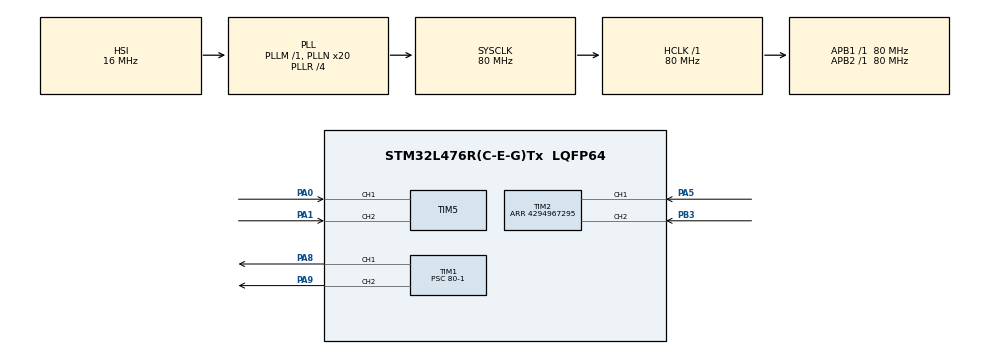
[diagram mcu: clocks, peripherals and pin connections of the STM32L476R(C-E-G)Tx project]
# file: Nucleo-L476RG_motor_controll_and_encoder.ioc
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Dma.Request0=TIM1_CH1
Dma.TIM1_CH1.0.Direction=DMA_MEMORY_TO_PERIPH
Dma.TIM1_CH1.0.Instance=DMA1_Channel2
Dma.TIM1_CH1.0.MemDataAlignment=DMA_MDATAALIGN_HALFWORD
Dma.TIM1_CH1.0.MemInc=DMA_MINC_ENABLE
Dma.TIM1_CH1.0.Mode=DMA_NORMAL
Dma.TIM1_CH1.0.PeriphDataAlignment=DMA_PDATAALIGN_HALFWORD
Dma.TIM1_CH1.0.PeriphInc=DMA_PINC_DISABLE
Dma.TIM1_CH1.0.Priority=DMA_PRIORITY_LOW
Mcu.Family=STM32L4
Mcu.Name=STM32L476R(C-E-G)Tx
Mcu.Package=LQFP64
NVIC.DMA1_Channel2_IRQn=true\:0\:0\:false\:false\:true\:false\:true\:true
NVIC.PriorityGroup=NVIC_PRIORITYGROUP_4
NVIC.TIM2_IRQn=true\:0\:0\:false\:false\:true\:true\:true\:true
NVIC.TIM5_IRQn=true\:0\:0\:false\:false\:true\:true\:true\:true
PA0.Signal=S_TIM5_CH1
PA1.Signal=S_TIM5_CH2
PA13\ (JTMS-SWDIO).Mode=Serial_Wire
PA13\ (JTMS-SWDIO).Signal=SYS_JTMS-SWDIO
PA14\ (JTCK-SWCLK).Mode=Serial_Wire
PA14\ (JTCK-SWCLK).Signal=SYS_JTCK-SWCLK
PA5.GPIO_PuPd=GPIO_PULLUP
PA5.Signal=S_TIM2_CH1
PA8.Signal=S_TIM1_CH1
PA9.Signal=S_TIM1_CH2
PB3\ (JTDO-TRACESWO).GPIO_PuPd=GPIO_PULLUP
PB3\ (JTDO-TRACESWO).Signal=S_TIM2_CH2
PH0-OSC_IN\ (PH0).Mode=HSE-External-Oscillator
PH0-OSC_IN\ (PH0).Signal=RCC_OSC_IN
PH1-OSC_OUT\ (PH1).Mode=HSE-External-Oscillator
PH1-OSC_OUT\ (PH1).Signal=RCC_OSC_OUT
ProjectManager.HeapSize=0x200
ProjectManager.StackSize=0x400
ProjectManager.TargetToolchain=STM32CubeIDE
RCC.ADCFreq_Value=64000000
RCC.AHBFreq_Value=80000000
RCC.APB1Freq_Value=80000000
RCC.APB1TimFreq_Value=80000000
RCC.APB2Freq_Value=80000000
RCC.APB2TimFreq_Value=80000000
RCC.CortexFreq_Value=80000000
RCC.HCLKFreq_Value=80000000
RCC.HSE_VALUE=8000000
RCC.HSI_VALUE=16000000
RCC.LSE_VALUE=32768
RCC.MSI_VALUE=4000000
RCC.PLLN=20
RCC.PLLR=RCC_PLLR_DIV4
RCC.PLLSourceVirtual=RCC_PLLSOURCE_HSI
RCC.PREFETCH_ENABLE=1
RCC.SYSCLKFreq_VALUE=80000000
RCC.SYSCLKSource=RCC_SYSCLKSOURCE_PLLCLK
RCC.USBFreq_Value=64000000
RCC.VCOOutputFreq_Value=320000000
SH.S_TIM1_CH1.0=TIM1_CH1,PWM Generation1 CH1
SH.S_TIM1_CH2.0=TIM1_CH2,PWM Generation2 CH2
SH.S_TIM2_CH1.0=TIM2_CH1,Encoder_Interface
SH.S_TIM2_CH2.0=TIM2_CH2,Encoder_Interface
SH.S_TIM5_CH1.0=TIM5_CH1,Encoder_Interface
SH.S_TIM5_CH2.0=TIM5_CH2,Encoder_Interface
TIM1.Channel-PWM\ Generation1\ CH1=TIM_CHANNEL_1
TIM1.Channel-PWM\ Generation2\ CH2=TIM_CHANNEL_2
TIM1.Period=100-1
TIM1.Prescaler=80-1
TIM2.EncoderMode=TIM_ENCODERMODE_TI12
TIM2.IC1Polarity=TIM_ICPOLARITY_FALLING
TIM2.Period=4294967295
TIM5.EncoderMode=TIM_ENCODERMODE_TI12
TIM5.IC1Polarity=TIM_ICPOLARITY_FALLING
VP_TIM1_VS_ClockSourceINT.Mode=Internal
board=NUCLEO-L476RG

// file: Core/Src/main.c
/* USER CODE BEGIN Header */
/**
  ******************************************************************************
  * @file           : main.c
  * @brief          : Main program body
  ******************************************************************************
  * @attention
  *
  * Copyright (c) 2025 STMicroelectronics.
  * All rights reserved.
  *
  * This software is licensed under terms that can be found in the LICENSE file
  * in the root directory of this software component.
  * If no LICENSE file comes with this software, it is provided AS-IS.
  *
  ******************************************************************************
  */
/* USER CODE END Header */
#include "main.h"

TIM_HandleTypeDef htim1;
TIM_HandleTypeDef htim2;
TIM_HandleTypeDef htim5;
DMA_HandleTypeDef hdma_tim1_ch1;

void SystemClock_Config(void);
static void MX_GPIO_Init(void);
static void MX_DMA_Init(void);
static void MX_TIM2_Init(void);
static void MX_TIM1_Init(void);
static void MX_TIM5_Init(void);

/* USER CODE BEGIN 0 */
int32_t counter1 = 0;
int32_t counter2 = 0;

int32_t ticks1 = 0;
int32_t ticks2 = 0;

int speed1 = 0;
int speed2 = 0;

uint16_t pwmData[10];

void HAL_TIM_IC_CaptureCallback(TIM_HandleTypeDef *htim){
	if (htim->Instance == TIM2)
	  {
	    counter1 = __HAL_TIM_GET_COUNTER(htim);
	    ticks1 = counter1/4;
	  }
	  else if (htim->Instance == TIM5)
	  {
	    counter2 = __HAL_TIM_GET_COUNTER(htim);
	    ticks2 = counter2/4;
	  }
}

/* USER CODE END 0 */

/* USER CODE END 4 */

int main(void)
{

  /* MCU Configuration--------------------------------------------------------*/

  /* Reset of all peripherals, Initializes the Flash interface and the Systick. */
  HAL_Init();

  /* Configure the system clock */
  SystemClock_Config();

  /* Initialize all configured peripherals */
  MX_GPIO_Init();
  MX_DMA_Init();
  MX_TIM2_Init();
  MX_TIM1_Init();
  MX_TIM5_Init();
  /* USER CODE BEGIN 2 */
  HAL_TIM_Encoder_Start_IT(&htim2, TIM_CHANNEL_ALL);
  HAL_TIM_Encoder_Start_IT(&htim5, TIM_CHANNEL_ALL);

//  TIM1->CCR1 = 25;
  HAL_TIM_PWM_Start(&htim1, TIM_CHANNEL_1);
  HAL_TIM_PWM_Start(&htim1, TIM_CHANNEL_2);

//  pwmData[0]=10;
//  pwmData[1]=20;
//  pwmData[2]=30;
//  pwmData[3]=40;
//  pwmData[4]=50;
//  pwmData[5]=60;
//  pwmData[6]=70;
//  pwmData[7]=80;
//  pwmData[8]=90;
//  pwmData[9]=100;
//
//
//  HAL_TIM_PWM_Start_DMA(&htim1, TIM_CHANNEL_1, (uint32_t *)pwmData, 10);
  	 __HAL_TIM_SET_COMPARE(&htim1, TIM_CHANNEL_1, 100);
  	 __HAL_TIM_SET_COMPARE(&htim1, TIM_CHANNEL_2, 100);
  /* USER CODE END 2 */

  /* Infinite loop */
  while (1)
  {

    /* USER CODE BEGIN 3 */
	  // Ramp up the motor speed

//	for (uint16_t dutyCycle = 30; dutyCycle <= 100; dutyCycle++)
//	{
//	 __HAL_TIM_SET_COMPARE(&htim1, TIM_CHANNEL_1, dutyCycle);
//	 __HAL_TIM_SET_COMPARE(&htim1, TIM_CHANNEL_2, dutyCycle);
//	 HAL_Delay(100); // Delay for a short period to see the speed change
//	}

//	// Ramp down the motor speed
//	for (uint16_t dutyCycle = 100; dutyCycle > 30; dutyCycle--)
//	{
//	 __HAL_TIM_SET_COMPARE(&htim1, TIM_CHANNEL_1, dutyCycle);
//	 __HAL_TIM_SET_COMPARE(&htim1, TIM_CHANNEL_2, dutyCycle);
//	 HAL_Delay(100); // Delay for a short period to see the speed change
//	}

  }
  /* USER CODE END 3 */
}

void SystemClock_Config(void)
{
  RCC_OscInitTypeDef RCC_OscInitStruct = {0};
  RCC_ClkInitTypeDef RCC_ClkInitStruct = {0};

  /** Configure the main internal regulator output voltage
  */
  if (HAL_PWREx_ControlVoltageScaling(PWR_REGULATOR_VOLTAGE_SCALE1) != HAL_OK)
  {
    Error_Handler();
  }

  /** Initializes the RCC Oscillators according to the specified parameters
  * in the RCC_OscInitTypeDef structure.
  */
  RCC_OscInitStruct.OscillatorType = RCC_OSCILLATORTYPE_HSI;
  RCC_OscInitStruct.HSIState = RCC_HSI_ON;
  RCC_OscInitStruct.HSICalibrationValue = RCC_HSICALIBRATION_DEFAULT;
  RCC_OscInitStruct.PLL.PLLState = RCC_PLL_ON;
  RCC_OscInitStruct.PLL.PLLSource = RCC_PLLSOURCE_HSI;
  RCC_OscInitStruct.PLL.PLLM = 1;
  RCC_OscInitStruct.PLL.PLLN = 20;
  RCC_OscInitStruct.PLL.PLLP = RCC_PLLP_DIV7;
  RCC_OscInitStruct.PLL.PLLQ = RCC_PLLQ_DIV2;
  RCC_OscInitStruct.PLL.PLLR = RCC_PLLR_DIV4;
  if (HAL_RCC_OscConfig(&RCC_OscInitStruct) != HAL_OK)
  {
    Error_Handler();
  }

  /** Initializes the CPU, AHB and APB buses clocks
  */
  RCC_ClkInitStruct.ClockType = RCC_CLOCKTYPE_HCLK|RCC_CLOCKTYPE_SYSCLK
                              |RCC_CLOCKTYPE_PCLK1|RCC_CLOCKTYPE_PCLK2;
  RCC_ClkInitStruct.SYSCLKSource = RCC_SYSCLKSOURCE_PLLCLK;
  RCC_ClkInitStruct.AHBCLKDivider = RCC_SYSCLK_DIV1;
  RCC_ClkInitStruct.APB1CLKDivider = RCC_HCLK_DIV1;
  RCC_ClkInitStruct.APB2CLKDivider = RCC_HCLK_DIV1;

  if (HAL_RCC_ClockConfig(&RCC_ClkInitStruct, FLASH_LATENCY_4) != HAL_OK)
  {
    Error_Handler();
  }
}

static void MX_TIM1_Init(void)
{

  TIM_ClockConfigTypeDef sClockSourceConfig = {0};
  TIM_MasterConfigTypeDef sMasterConfig = {0};
  TIM_OC_InitTypeDef sConfigOC = {0};
  TIM_BreakDeadTimeConfigTypeDef sBreakDeadTimeConfig = {0};

  htim1.Instance = TIM1;
  htim1.Init.Prescaler = 40-1;
  htim1.Init.CounterMode = TIM_COUNTERMODE_UP;
  htim1.Init.Period = 100-1;
  htim1.Init.ClockDivision = TIM_CLOCKDIVISION_DIV1;
  htim1.Init.RepetitionCounter = 0;
  htim1.Init.AutoReloadPreload = TIM_AUTORELOAD_PRELOAD_DISABLE;
  if (HAL_TIM_Base_Init(&htim1) != HAL_OK)
  {
    Error_Handler();
  }
  sClockSourceConfig.ClockSource = TIM_CLOCKSOURCE_INTERNAL;
  if (HAL_TIM_ConfigClockSource(&htim1, &sClockSourceConfig) != HAL_OK)
  {
    Error_Handler();
  }
  if (HAL_TIM_PWM_Init(&htim1) != HAL_OK)
  {
    Error_Handler();
  }
  sMasterConfig.MasterOutputTrigger = TIM_TRGO_RESET;
  sMasterConfig.MasterOutputTrigger2 = TIM_TRGO2_RESET;
  sMasterConfig.MasterSlaveMode = TIM_MASTERSLAVEMODE_DISABLE;
  if (HAL_TIMEx_MasterConfigSynchronization(&htim1, &sMasterConfig) != HAL_OK)
  {
    Error_Handler();
  }
  sConfigOC.OCMode = TIM_OCMODE_PWM1;
  sConfigOC.Pulse = 0;
  sConfigOC.OCPolarity = TIM_OCPOLARITY_HIGH;
  sConfigOC.OCNPolarity = TIM_OCNPOLARITY_HIGH;
  sConfigOC.OCFastMode = TIM_OCFAST_DISABLE;
  sConfigOC.OCIdleState = TIM_OCIDLESTATE_RESET;
  sConfigOC.OCNIdleState = TIM_OCNIDLESTATE_RESET;
  if (HAL_TIM_PWM_ConfigChannel(&htim1, &sConfigOC, TIM_CHANNEL_1) != HAL_OK)
  {
    Error_Handler();
  }
  if (HAL_TIM_PWM_ConfigChannel(&htim1, &sConfigOC, TIM_CHANNEL_2) != HAL_OK)
  {
    Error_Handler();
  }
  sBreakDeadTimeConfig.OffStateRunMode = TIM_OSSR_DISABLE;
  sBreakDeadTimeConfig.OffStateIDLEMode = TIM_OSSI_DISABLE;
  sBreakDeadTimeConfig.LockLevel = TIM_LOCKLEVEL_OFF;
  sBreakDeadTimeConfig.DeadTime = 0;
  sBreakDeadTimeConfig.BreakState = TIM_BREAK_DISABLE;
  sBreakDeadTimeConfig.BreakPolarity = TIM_BREAKPOLARITY_HIGH;
  sBreakDeadTimeConfig.BreakFilter = 0;
  sBreakDeadTimeConfig.Break2State = TIM_BREAK2_DISABLE;
  sBreakDeadTimeConfig.Break2Polarity = TIM_BREAK2POLARITY_HIGH;
  sBreakDeadTimeConfig.Break2Filter = 0;
  sBreakDeadTimeConfig.AutomaticOutput = TIM_AUTOMATICOUTPUT_DISABLE;
  if (HAL_TIMEx_ConfigBreakDeadTime(&htim1, &sBreakDeadTimeConfig) != HAL_OK)
  {
    Error_Handler();
  }
  HAL_TIM_MspPostInit(&htim1);

}

static void MX_TIM2_Init(void)
{

  TIM_Encoder_InitTypeDef sConfig = {0};
  TIM_MasterConfigTypeDef sMasterConfig = {0};

  htim2.Instance = TIM2;
  htim2.Init.Prescaler = 0;
  htim2.Init.CounterMode = TIM_COUNTERMODE_UP;
  htim2.Init.Period = 4294967295;
  htim2.Init.ClockDivision = TIM_CLOCKDIVISION_DIV1;
  htim2.Init.AutoReloadPreload = TIM_AUTORELOAD_PRELOAD_DISABLE;
  sConfig.EncoderMode = TIM_ENCODERMODE_TI12;
  sConfig.IC1Polarity = TIM_ICPOLARITY_FALLING;
  sConfig.IC1Selection = TIM_ICSELECTION_DIRECTTI;
  sConfig.IC1Prescaler = TIM_ICPSC_DIV1;
  sConfig.IC1Filter = 0;
  sConfig.IC2Polarity = TIM_ICPOLARITY_RISING;
  sConfig.IC2Selection = TIM_ICSELECTION_DIRECTTI;
  sConfig.IC2Prescaler = TIM_ICPSC_DIV1;
  sConfig.IC2Filter = 0;
  if (HAL_TIM_Encoder_Init(&htim2, &sConfig) != HAL_OK)
  {
    Error_Handler();
  }
  sMasterConfig.MasterOutputTrigger = TIM_TRGO_RESET;
  sMasterConfig.MasterSlaveMode = TIM_MASTERSLAVEMODE_DISABLE;
  if (HAL_TIMEx_MasterConfigSynchronization(&htim2, &sMasterConfig) != HAL_OK)
  {
    Error_Handler();
  }

}

static void MX_TIM5_Init(void)
{

  TIM_Encoder_InitTypeDef sConfig = {0};
  TIM_MasterConfigTypeDef sMasterConfig = {0};

  htim5.Instance = TIM5;
  htim5.Init.Prescaler = 0;
  htim5.Init.CounterMode = TIM_COUNTERMODE_UP;
  htim5.Init.Period = 4294967295;
  htim5.Init.ClockDivision = TIM_CLOCKDIVISION_DIV1;
  htim5.Init.AutoReloadPreload = TIM_AUTORELOAD_PRELOAD_DISABLE;
  sConfig.EncoderMode = TIM_ENCODERMODE_TI12;
  sConfig.IC1Polarity = TIM_ICPOLARITY_FALLING;
  sConfig.IC1Selection = TIM_ICSELECTION_DIRECTTI;
  sConfig.IC1Prescaler = TIM_ICPSC_DIV1;
  sConfig.IC1Filter = 0;
  sConfig.IC2Polarity = TIM_ICPOLARITY_RISING;
  sConfig.IC2Selection = TIM_ICSELECTION_DIRECTTI;
  sConfig.IC2Prescaler = TIM_ICPSC_DIV1;
  sConfig.IC2Filter = 0;
  if (HAL_TIM_Encoder_Init(&htim5, &sConfig) != HAL_OK)
  {
    Error_Handler();
  }
  sMasterConfig.MasterOutputTrigger = TIM_TRGO_RESET;
  sMasterConfig.MasterSlaveMode = TIM_MASTERSLAVEMODE_DISABLE;
  if (HAL_TIMEx_MasterConfigSynchronization(&htim5, &sMasterConfig) != HAL_OK)
  {
    Error_Handler();
  }

}

static void MX_DMA_Init(void)
{

  /* DMA controller clock enable */
  __HAL_RCC_DMA1_CLK_ENABLE();

  /* DMA interrupt init */
  /* DMA1_Channel2_IRQn interrupt configuration */
  HAL_NVIC_SetPriority(DMA1_Channel2_IRQn, 0, 0);
  HAL_NVIC_EnableIRQ(DMA1_Channel2_IRQn);

}

static void MX_GPIO_Init(void)
{

  /* GPIO Ports Clock Enable */
  __HAL_RCC_GPIOH_CLK_ENABLE();
  __HAL_RCC_GPIOA_CLK_ENABLE();
  __HAL_RCC_GPIOB_CLK_ENABLE();

}

void Error_Handler(void)
{
  __disable_irq();
  while (1)
  {
  }
}
